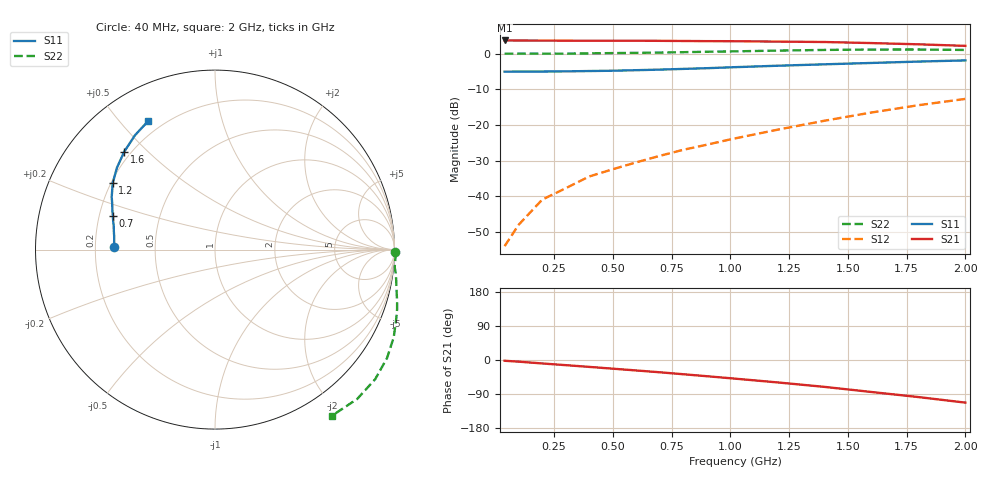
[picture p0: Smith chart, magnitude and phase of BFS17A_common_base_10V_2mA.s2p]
! Filename:  BFS17ACF.S2P  Version:  2.0
! Philips part #: BFS17A  Date: Jul 1990
! Bias condition: Vce=10V, Ic=2mA
! COMMON BASE
#  MHz  S  MA  R  50
! Freq  S11  S21  S12  S22
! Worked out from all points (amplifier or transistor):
!   16 points, 40 MHz to 2 GHz, reference 50 ohm
!   highest |S21| = 3.7 dB at 40 MHz (marker M1)
!   |S21| within 3 dB of that: start of sweep to end of sweep
!   unconditionally stable (mu >= 1): nowhere
!   at 200 MHz: K = -0.36, MSG = 22.3 dB, |S12| = -40.9 dB
!   at 800 MHz: K = -0.76, MSG = 15.3 dB, |S12| = -26.9 dB
!   at 2 GHz: K = -0.45, MSG = 7.4 dB, |S12| = -12.7 dB
!   S11 on the Smith chart (normalised r, x): 40 MHz: 0.28, +0.01; 700 MHz: 0.26, +0.15; 1.2 GHz: 0.21, +0.29; 1.6 GHz: 0.17, +0.43; 2 GHz: 0.14, +0.60
40  0.562 178.8  1.539 -2.0  0.002 87.8  1.004 -0.9
100  0.563 177.2  1.537 -4.4  0.004 88.6  1.007 -1.6
200  0.564 174.8  1.534 -9.1  0.009 97.6  1.006 -3.7
300  0.567 172.2  1.528 -13.6  0.013 101.4  1.006 -5.6
400  0.573 169.7  1.526 -18.2  0.019 105.4  1.015 -7.4
500  0.579 167.0  1.524 -22.9  0.024 108.1  1.023 -9.4
600  0.589 164.4  1.525 -27.6  0.03 111.0  1.031 -11.4
700  0.6 161.6  1.52 -32.4  0.037 113.9  1.041 -13.5
800  0.614 158.7  1.513 -37.6  0.045 116.4  1.054 -15.7
900  0.628 155.8  1.505 -42.8  0.053 118.7  1.068 -18.2
1000  0.646 153.0  1.503 -48.1  0.063 120.2  1.08 -20.7
1200  0.68 146.9  1.483 -59.1  0.086 122.4  1.109 -26.1
1400  0.712 140.1  1.464 -70.9  0.115 122.1  1.133 -32.2
1600  0.744 132.8  1.414 -84.4  0.15 120.9  1.148 -39.0
1800  0.778 124.9  1.359 -97.8  0.19 117.8  1.149 -46.4
2000  0.808 117.3  1.292 -112.5  0.233 113.4  1.132 -55.0
